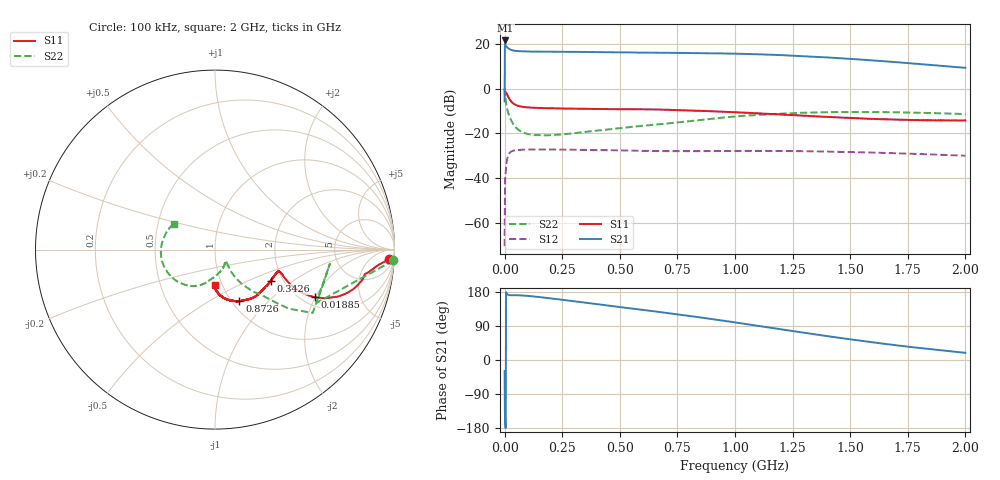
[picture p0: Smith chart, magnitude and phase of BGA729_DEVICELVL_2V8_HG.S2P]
!Agilent Technologies,E5071C,MY46105553,A.09.30
!Date: Fri Apr 03 07:21:14 2015
!Data & Calibration Information:
!Freq	S11:SOLT2(ON)	S21:SOLT2(ON)	S12:SOLT2(ON)	S22:SOLT2(ON)
# Hz S dB R 50
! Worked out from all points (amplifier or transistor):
!   1601 points, 100 kHz to 2 GHz, reference 50 ohm
!   highest |S21| = 21.6 dB at 2.6 MHz (marker M1)
!   |S21| within 3 dB of that: 1.339 MHz to 10.71 MHz (9.372 MHz wide, 156 % of centre)
!   unconditionally stable (mu >= 1): 130.4 kHz to 1.535 MHz; 13.95 MHz to end of sweep
!   at 332.6 MHz: K = 1.67, MAG = 17.1 dB, |S12| = -27.3 dB
!   at 1 GHz: K = 1.84, MAG = 16.5 dB, |S12| = -27.8 dB
!   at 2 GHz: K = 4.79, MAG = 9.9 dB, |S12| = -30.0 dB
!   S11 on the Smith chart (normalised r, x): 100 kHz: 15, -29; 18.85 MHz: 2.32, -1.98; 342.6 MHz: 1.73, -0.69; 872.6 MHz: 1.08, -0.69; 2 GHz: 0.93, -0.38
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100000  -0.24 -3.1  -5.64 -29.5  -70.49 -6.8  -0.04 -3.5
2599875  -1.33 -8.7  21.63 -165.7  -39.96 98.0  -3.81 -7.0
1.134944e7  -2.68 -20.8  18.57 174.0  -31.46 55.7  -9.15 -45.3
1.259938e7  -2.95 -21.8  18.43 173.2  -30.89 52.2  -9.63 -46.7
1.384931e7  -3.24 -23.0  18.32 172.6  -30.44 49.3  -10.09 -47.8
1.884906e7  -4.21 -25.5  17.90 171.3  -29.20 40.0  -11.71 -50.9
2.634869e7  -5.39 -26.3  17.49 170.9  -28.30 30.5  -13.66 -53.4
3.509825e7  -6.36 -25.3  17.18 170.9  -27.81 23.5  -15.38 -53.9
6.259688e7  -7.76 -21.3  16.84 170.8  -27.33 12.8  -18.55 -51.2
1.325934e8  -8.50 -19.0  16.64 167.3  -27.20 4.5  -20.72 -47.6
3.338333e8  -8.95 -28.8  16.48 152.5  -27.34 -2.3  -19.49 -63.0
3.425829e8  -8.97 -29.3  16.47 151.9  -27.35 -2.6  -19.43 -63.7
5.00075e8  -9.18 -38.9  16.31 139.7  -27.59 -5.1  -17.66 -80.0
6.675666e8  -9.28 -50.6  16.13 127.0  -27.91 -6.0  -15.97 -95.1
8.725564e8  -9.94 -64.8  15.91 110.5  -27.90 -6.2  -13.71 -110.0
1.00005e9  -10.51 -72.6  15.71 99.2  -27.83 -7.6  -12.42 -122.0
1.161292e9  -11.31 -80.0  15.20 84.6  -27.86 -10.1  -11.34 -137.9
1.333783e9  -12.24 -85.7  14.41 68.9  -28.03 -13.3  -10.65 -154.7
1.491275e9  -12.98 -89.1  13.43 55.3  -28.32 -16.3  -10.39 -169.4
1.667517e9  -13.75 -90.4  12.15 41.3  -28.79 -19.2  -10.49 174.9
1.838758e9  -14.11 -90.1  10.76 29.1  -29.37 -21.8  -10.83 160.4
2e9  -14.22 -89.4  9.37 19.0  -29.97 -23.4  -11.34 147.9
